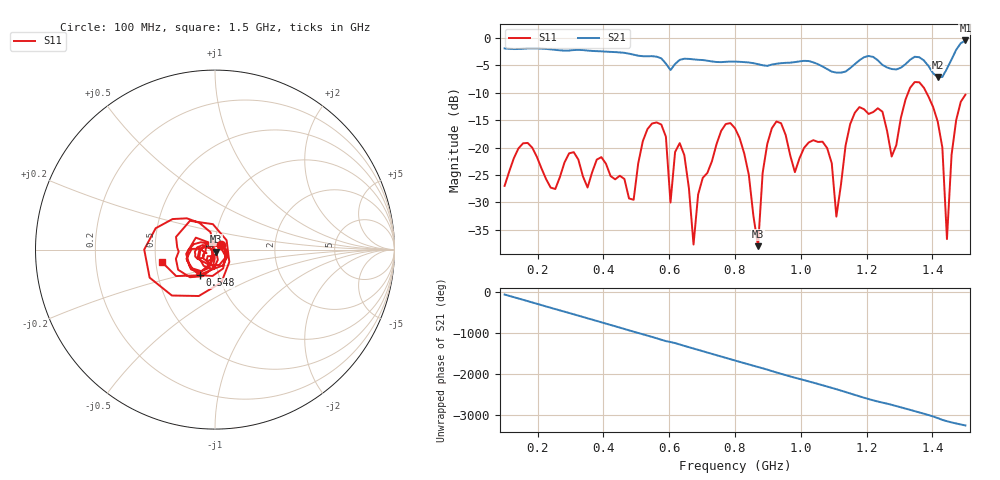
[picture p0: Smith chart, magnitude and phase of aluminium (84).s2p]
! NanoVNA-App
! Date: 2025-09-26 09:58:43
! Start: 100MHz Stop: 1,5GHz Points: 101
! S-Parameter data: F S11 S21 S12 S22
# Hz S RI R 50
!  Frequency  S11_Real  S11_Imag  S21_Real  S21_Imag  S12_Real  S12_Imag  S22_Real  S22_Imag
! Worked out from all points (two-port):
!   101 points, 100 MHz to 1.5 GHz, reference 50 ohm
!   highest |S21| = -0.45 dB at 1.5 GHz (marker M1); lowest = -7.1 dB at 1.416 GHz (marker M2)
!   |S21| within 3 dB of the highest: start of sweep to 564 MHz; 1.462 GHz to end of sweep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
!   lowest |S11| = -38.0 dB at 870 MHz (marker M3), VSWR 1.03, Z = 50.6 - j1.1 ohm
!   |S11| at or under -10 dB: start of sweep to 1.326 GHz; 1.382 GHz to end of sweep
!   S12 and S22 are empty: the file has one direction only
!   S11 on the Smith chart (normalised r, x): 100 MHz: 1.07, +0.06; 548 MHz: 0.81, -0.24; 1.5 GHz: 0.54, -0.08
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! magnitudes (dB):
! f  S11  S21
! 100 MHz  -27.0  -1.9
! 156 MHz  -19.2  -2.0
! 338 MHz  -25.3  -2.2
! 492 MHz  -29.5  -3.1
! 548 MHz  -15.6  -3.3
! 576 MHz  -15.8  -3.7
! 604 MHz  -30.0  -5.9
! 646 MHz  -21.4  -3.8
! 674 MHz  -37.7  -3.9
! 702 MHz  -25.5  -4.0
! 800 MHz  -16.5  -4.3
! 870 MHz  -38.0  -4.8
! 912 MHz  -16.5  -4.8
! 1.038 GHz  -18.6  -4.5
! 1.108 GHz  -32.6  -6.3
! 1.178 GHz  -12.6  -4.1
! 1.276 GHz  -21.6  -5.7
! 1.346 GHz  -8.0  -3.4
! 1.416 GHz  -15.3  -7.1
! 1.444 GHz  -36.7  -5.6
! 1.458 GHz  -21.3  -3.9
! 1.5 GHz  -10.4  -0.5
